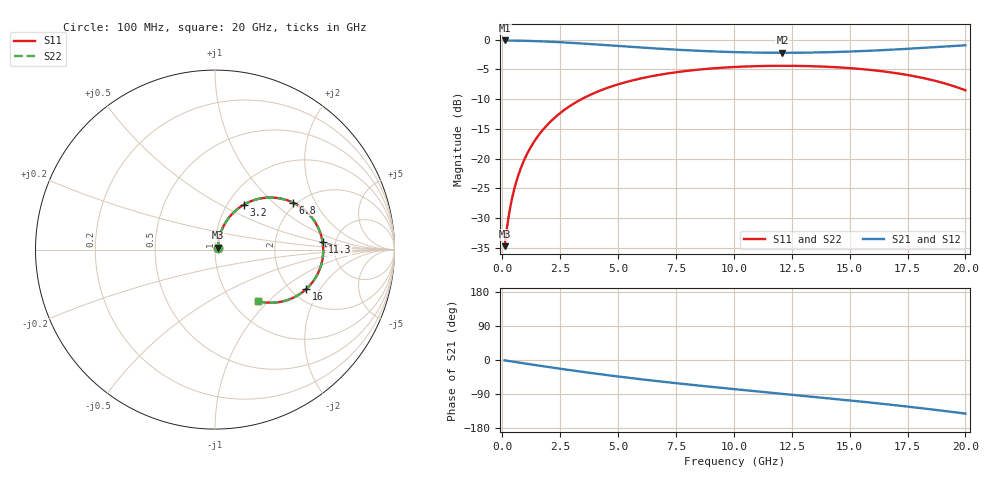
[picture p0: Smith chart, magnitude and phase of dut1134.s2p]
! Touchstone file exported from HFSS 2026.1.0
!  File:  C:/ffzhzh/LocalFiles/Ansys_Project_Files/temp_train_TSV_RDL_1134_1783308005_38704.aedt
!  Generated:  11:31:11 AM Jul  6, 2026
!  Design:  TSV_RDL
!  Project:  temp_train_TSV_RDL_1134_1783308005_38704
! Variables:
!  h_bsmrdl = 4.68um
!  h_ox = 20um
!  h_rdl = 5um
!  h_sub = 71.8um
!  h_tmrdl = 4.8um
!  h_tsv = 71.8um
!  h_via = 3um
!  l_bsmrdl = 488.67um
!  l_sub = 2485.05um
!  l_tmrdl = 120.62um
!  m_sub = 200um
!  pitch = 54.71um
!  r_tsv = 2.7um
!  s_tmrdl = 10um
!  w_bsmrdl = 21.03um
!  w_sub = 500um
!  w_tmrdl = 24.49um
!  x_tsv_center1 = 132.865um
!  x_tsv_center2 = 642.565um
!  x_tsv_center3 = 787.675um
!  x_tsv_center4 = 1297.375um
!  x_tsv_center5 = 1442.485um
!  x_tsv_center6 = 1952.185um
# GHz S MA R 50.000000
! Terminal data exported
! Port[1] = TM_RDL1_1_T1
! Port[2] = TM_RDL5_1_T1
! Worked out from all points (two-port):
!   200 points, 100 MHz to 20 GHz, reference 50 ohm
!   highest |S21| = -0.13 dB at 100 MHz (marker M1); lowest = -2.2 dB at 12.1 GHz (marker M2)
!   |S21| within 3 dB of the highest: start of sweep to end of sweep
!   lowest |S11| = -34.7 dB at 100 MHz (marker M3), VSWR 1.04, Z = 51.5 + j1.07 ohm
!   |S11| at or under -10 dB: start of sweep to 3.426 GHz
!   |S22| runs from -34.7 to -4.4 dB; largest |S21 - S12| = 1.1e-13
!   S11 on the Smith chart (normalised r, x): 100 MHz: 1.03, +0.02; 3.2 GHz: 1.19, +0.66; 6.8 GHz: 1.91, +1.35; 11.3 GHz: 3.94, +0.52; 16 GHz: 2.39, -1.51; 20 GHz: 1.31, -0.87
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0.1  0.01831 34.7  0.9851 -1.0  0.9851 -1.0  0.01831 34.7
! Gamma 0 0 0 0
! Port Impedance 50 0 50 0
0.2  0.02601 52.2  0.9845 -1.9  0.9845 -1.9  0.02601 52.2
0.3  0.03492 60.7  0.984 -2.9  0.984 -2.9  0.03492 60.7
0.5  0.0538 68.0  0.9828 -4.8  0.9828 -4.8  0.0538 68.0
0.8  0.08295 71.1  0.9804 -7.6  0.9804 -7.6  0.08295 71.1
1.1  0.1122 71.1  0.9772 -10.4  0.9772 -10.4  0.1122 71.1
1.5  0.1506 69.4  0.9716 -14.1  0.9716 -14.1  0.1506 69.4
2  0.1971 66.2  0.9627 -18.6  0.9627 -18.6  0.1971 66.2
2.6  0.2499 61.8  0.9497 -23.9  0.9497 -23.9  0.2499 61.8
3.2  0.2989 57.2  0.9348 -29.1  0.9348 -29.1  0.2989 57.2
3.5  0.3218 54.8  0.9269 -31.6  0.9269 -31.6  0.3218 54.8
5.1  0.4265 42.9  0.8828 -44.3  0.8828 -44.3  0.4265 42.9
6.8  0.507 31.1  0.8395 -56.4  0.8395 -56.4  0.507 31.1
8.5  0.5604 20.4  0.8057 -67.6  0.8057 -67.6  0.5604 20.4
10.1  0.5901 10.9  0.7852 -77.4  0.7852 -77.4  0.5901 10.9
11.3  0.601 4.0  0.7773 -84.5  0.7773 -84.5  0.601 4.0
12.1  0.6031 -0.6  0.7758 -89.2  0.7758 -89.2  0.6031 -0.6
13.4  0.598 -8.0  0.7795 -96.9  0.7795 -96.9  0.598 -8.0
16  0.5539 -23.3  0.8092 -112.9  0.8092 -112.9  0.5539 -23.3
16.7  0.5333 -27.7  0.8218 -117.5  0.8218 -117.5  0.5333 -27.7
18.4  0.4653 -38.8  0.8585 -129.3  0.8585 -129.3  0.4653 -38.8
20  0.3752 -50.0  0.8971 -141.5  0.8971 -141.5  0.3752 -50.0
